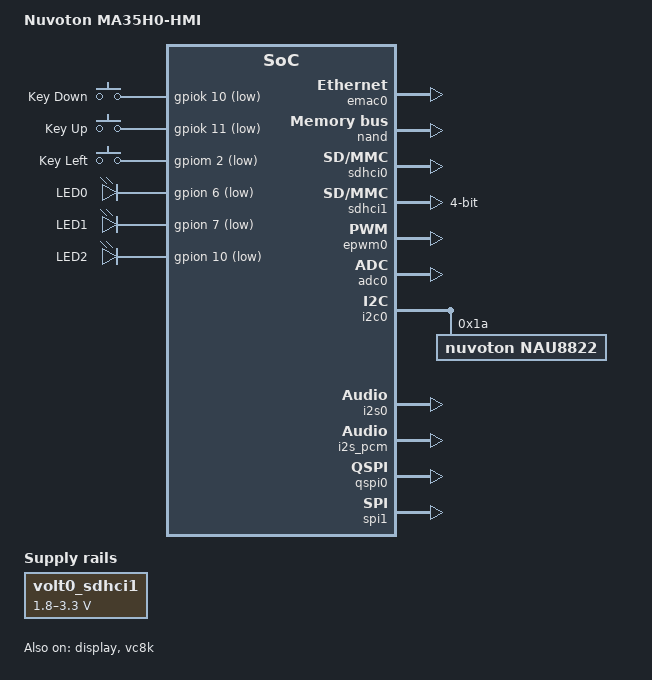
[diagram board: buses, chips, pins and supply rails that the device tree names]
/*
 * Device Tree Source for MA35H0 HMI Board
 *
 * Copyright (C) 2021 Nuvoton Technology Corp.
 *
 * The code contained herein is licensed under the GNU General Public
 * License. You may obtain a copy of the GNU General Public License
 * Version 2 or later at the following locations:
 *
 * http://www.opensource.org/licenses/gpl-license.html
 * http://www.gnu.org/copyleft/gpl.html
 */

/dts-v1/;

#include "ma35h0.dtsi"

/ {
	model = "Nuvoton MA35H0-HMI";

	aliases {
		i2c0 = &i2c0;
	};

	chosen {
		bootargs = "root=/dev/mmcblk1p1 rootfstype=ext4 rw rootwait console=ttyS0,115200n8 rdinit=/sbin/init mem=128M";
	};

	reserved-memory {
		display_buf: display_buf@0 {
			reg = <0x0 0x84FF0000 0x0 0x1010000>; /* 17MiB */
			no-map;
		};
		vc8k_buf: vc8k_buf@0 {
                       reg = <0x0 0x86000000 0x0 0x1800000>; /* 24MiB */
			no-map;
		};
	};

	gpio_keys_test {
		compatible = "gpio-keys";
		status = "okay";
		autorepeat;
		botton0 {
			label = "Key Down";
			linux,code = <KEY_DOWN>;
			gpios = <&gpiok 10 GPIO_ACTIVE_LOW>;
			wakeup-source;
		};
		button1{
			label ="Key Up";
			linux,code = <KEY_UP>;
			gpios = <&gpiok 11 GPIO_ACTIVE_LOW>;
			wakeup-source;
		};
		botton2 {
			label = "Key Left";
			linux,code = <KEY_LEFT>;
			gpios = <&gpiom 2 GPIO_ACTIVE_LOW>;
			wakeup-source;
		};
	};

	gpio_leds_test {
		compatible = "gpio-leds";
		status = "okay";
		led0 {
			label = "LED0";
			gpios = <&gpion 6 GPIO_ACTIVE_LOW>;
		};
		led1 {
			label = "LED1";
			gpios = <&gpion 7 GPIO_ACTIVE_LOW>;
		};
		led2 {
			label = "LED2";
			gpios = <&gpion 10 GPIO_ACTIVE_LOW>;
		};
	};

        volt0_sdhci1: regulator-volt0_sdhci1 {
		compatible = "regulator-gpio";
		regulator-name = "volt1_sdhci1";
		regulator-min-microvolt = <1800000>;
		regulator-max-microvolt = <3300000>;
		gpios = <&gpion 11 GPIO_ACTIVE_HIGH>; /* PN11 */
		gpios-states = <0>;
		states = <1800000 0x1 3300000 0x0>;
		enable-active-high;
		regulator-boot-on;
        };
};

&mem {
	device_type = "memory";
	reg = <0x00000000 0x80000000 0 0x08000000>; /* DRAM space - 1, size : 128MB DRAM */
};

&emac0 {
	status = "okay";
	pinctrl-names = "default";
	pinctrl-0 = <&pinctrl_emac0>;
};

&ehci0 {
	pinctrl-names = "default";
	pinctrl-0 = <&pinctrl_hsusbh>;
};

&usb {
	pinctrl-names = "default";
	pinctrl-0 = <&pinctrl_usb>;
};

&nand {
	status = "okay";
	pinctrl-names = "default";
	pinctrl-0 = <&pinctrl_nand>;
};

&sdhci0 {
	status = "okay";
	pinctrl-names = "default";
	pinctrl-0 = <&pinctrl_sdhci0>;
	disable-wp;
};

&sdhci1 {
	status = "okay";
	pinctrl-names = "sdhci_3V3","sdhci_1V8";
	pinctrl-0 = <&pinctrl_sdhci1_3_3V>;
	pinctrl-1 = <&pinctrl_sdhci1_1_8V>;
	bus-width = <4>;
	vqmmc-supply = <&volt0_sdhci1>;
	power-gpios = <&gpiok 9 GPIO_ACTIVE_LOW>; /* PK9 */
};

&epwm0 {
	status = "okay";
	pinctrl-names = "default";
	pinctrl-0 = <&pinctrl_epwm0>;
};

&adc0 {
	status = "okay";
	pinctrl-names = "default";
	pinctrl-0 = <&pinctrl_adc0>;
};

&i2c0 {
	status = "okay";
	pinctrl-names = "default";
	pinctrl-0 = <&pinctrl_i2c0>;

	#address-cells = <1>;
	#size-cells = <0>;
	nau8822: nau8822@1a {
		compatible = "nuvoton,nau8822";
		reg = <0x1a> ;
		nuvoton,spk-btl;
	};
};

&i2c5 {
	pinctrl-names = "default";
	pinctrl-0 = <&pinctrl_i2c5>;
	status = "disabled";

	goodix_ts@5d {
		compatible = "goodix,gt911";
		status = "disabled";
		reg = <0x5d>;
		interrupt-parent = <&gpiok>;
		interrupts = <12 2>;
		reset-gpios = <&gpiof 1 0x00>;
		irq-gpios = <&gpiok 12 0x00>;
		touchscreen-size-x = <1024>;
		touchscreen-size-y = <600>;
		touchscreen-inverted-x = <1>;
		touchscreen-inverted-y = <1>;
	};
};

&uart6 {
	status = "disabled";
	pinctrl-names = "default";
	pinctrl-0 = <&pinctrl_uart6>;
};

&uart16 {
	status = "disabled";
	pinctrl-names = "default";
	pinctrl-0 = <&pinctrl_uart16>;
};

&i2s0 {
	status = "okay";
	pinctrl-names = "default";
	pinctrl-0 = <&pinctrl_i2s0>;
	powerdown-gpios = <&gpiom 6 GPIO_ACTIVE_HIGH>; /* PM6 */
};

&i2s_pcm {
	status = "okay";
};

&sound {
	status = "okay";
};

&qspi0 {
	status = "okay";
	pinctrl-names = "default";
	pinctrl-0 = <&pinctrl_qspi0>;
};

&spi1 {
	status = "okay";
	pinctrl-names = "default";
	pinctrl-0 = <&pinctrl_spi1>;
};

&can0 {
	status = "disabled";
	pinctrl-names = "default";
	pinctrl-0 = <&pinctrl_can0>;
};

&display {
	pinctrl-names = "default";
	pinctrl-0 = <&pinctrl_display0>;
	memory-region = <&display_buf>;
	status = "okay";
};

&vc8k {
	memory-region = <&vc8k_buf>;
	debug_level = <1>;
	status = "okay";
};

&pinctrl {
	emac0 {
		pinctrl_emac0: emac0grp{
			nuvoton,pins =
				<SYS_GPE_MFPL_PE0MFP_RMII0_MDC		&pcfg_emac_3_3V>,
				<SYS_GPE_MFPL_PE1MFP_RMII0_MDIO		&pcfg_emac_3_3V>,
				<SYS_GPE_MFPL_PE2MFP_RMII0_TXEN		&pcfg_emac_3_3V>,
				<SYS_GPE_MFPL_PE3MFP_RMII0_TXD0		&pcfg_emac_3_3V>,
				<SYS_GPE_MFPL_PE4MFP_RMII0_TXD1		&pcfg_emac_3_3V>,
				<SYS_GPE_MFPL_PE5MFP_RMII0_REFCLK	&pcfg_emac_3_3V>,
				<SYS_GPE_MFPL_PE6MFP_RMII0_CRSDV	&pcfg_emac_3_3V>,
				<SYS_GPE_MFPL_PE7MFP_RMII0_RXD0		&pcfg_emac_3_3V>,
				<SYS_GPE_MFPH_PE8MFP_RMII0_RXD1		&pcfg_emac_3_3V>,
				<SYS_GPE_MFPH_PE9MFP_RMII0_RXERR	&pcfg_emac_3_3V>;
		};
	};

	hsusbh {
		pinctrl_hsusbh: hsusbhgrp{
			nuvoton,pins =
				<SYS_GPL_MFPH_PL12MFP_HSUSBH_PWREN	&pcfg_default>,
				<SYS_GPL_MFPH_PL13MFP_HSUSBH_OVC	&pcfg_default>;
		};
	};

	adc0 {
		pinctrl_adc0: adc0grp {
			nuvoton,pins =
				<SYS_GPB_MFPH_PB10MFP_ADC0_CH2	&pcfg_default>,
				<SYS_GPB_MFPH_PB11MFP_ADC0_CH3	&pcfg_default>,
				<SYS_GPB_MFPH_PB12MFP_ADC0_CH4	&pcfg_default>,
				<SYS_GPB_MFPH_PB13MFP_ADC0_CH5	&pcfg_default>,
				<SYS_GPB_MFPH_PB14MFP_ADC0_CH6	&pcfg_default>,
				<SYS_GPB_MFPH_PB15MFP_ADC0_CH7	&pcfg_default>;
		};
	};

	epwm0 {
		pinctrl_epwm0: epwm0grp{
			nuvoton,pins =
				<SYS_GPD_MFPL_PD7MFP_EPWM0_CH1	&pcfg_default>;
		};
	};

	i2c0 {
		pinctrl_i2c0: i2c0grp{
			nuvoton,pins =
				<SYS_GPM_MFPH_PM8MFP_I2C0_SDA	&pcfg_default>,
				<SYS_GPM_MFPH_PM9MFP_I2C0_SCL	&pcfg_default>;
		};
	};

	i2c5 {
		pinctrl_i2c5: i2c5grp{
			nuvoton,pins =
				<SYS_GPM_MFPL_PM4MFP_I2C5_SDA		&pcfg_default>,
				<SYS_GPM_MFPL_PM5MFP_I2C5_SCL		&pcfg_default>;
		};
	};

	can0 {
		pinctrl_can0: can0grp{
			nuvoton,pins =
				<SYS_GPN_MFPL_PN2MFP_CAN0_RXD	&pcfg_default>,
				<SYS_GPN_MFPL_PN3MFP_CAN0_TXD	&pcfg_default>;
		};
	};

	uart6 {
		pinctrl_uart6: uart6grp{
			nuvoton,pins =
				<SYS_GPN_MFPH_PN12MFP_UART6_nCTS	&pcfg_default>,
				<SYS_GPN_MFPH_PN13MFP_UART6_nRTS	&pcfg_default>,
				<SYS_GPN_MFPH_PN14MFP_UART6_RXD	&pcfg_default>,
				<SYS_GPN_MFPH_PN15MFP_UART6_TXD	&pcfg_default>;
		};
	};

	uart16 {
		pinctrl_uart16: uart16grp{
			nuvoton,pins =
				<SYS_GPD_MFPH_PD8MFP_UART16_nCTS	&pcfg_default>,
				<SYS_GPD_MFPH_PD9MFP_UART16_nRTS	&pcfg_default>,
				<SYS_GPD_MFPH_PD10MFP_UART16_RXD	&pcfg_default>,
				<SYS_GPD_MFPH_PD11MFP_UART16_TXD	&pcfg_default>;
		};
	};

	i2s0 {
		pinctrl_i2s0: i2s0grp{
			nuvoton,pins =
				<SYS_GPG_MFPH_PG11MFP_I2S0_MCLK	&pcfg_default>,
				<SYS_GPG_MFPH_PG12MFP_I2S0_LRCK	&pcfg_default>,
				<SYS_GPG_MFPH_PG13MFP_I2S0_BCLK	&pcfg_default>,
				<SYS_GPG_MFPH_PG14MFP_I2S0_DI	&pcfg_default>,
				<SYS_GPG_MFPH_PG15MFP_I2S0_DO	&pcfg_default>;
		};
	};

	qspi0 {
		pinctrl_qspi0: qspi0grp{
			nuvoton,pins =
				<SYS_GPD_MFPL_PD0MFP_QSPI0_SS0		&pcfg_default>,
				<SYS_GPD_MFPL_PD1MFP_QSPI0_CLK		&pcfg_default>,
				<SYS_GPD_MFPL_PD2MFP_QSPI0_MOSI0	&pcfg_default>,
				<SYS_GPD_MFPL_PD3MFP_QSPI0_MISO0	&pcfg_default>,
				<SYS_GPD_MFPL_PD4MFP_QSPI0_MOSI1	&pcfg_default>,
				<SYS_GPD_MFPL_PD5MFP_QSPI0_MISO1	&pcfg_default>;
		};
	};

	spi1 {
		pinctrl_spi1: spi1grp{
			nuvoton,pins =
				<SYS_GPC_MFPH_PC8MFP_SPI1_SS0	&pcfg_default>,
				<SYS_GPC_MFPH_PC9MFP_SPI1_CLK	&pcfg_default>,
				<SYS_GPC_MFPH_PC10MFP_SPI1_MOSI	&pcfg_default>,
				<SYS_GPC_MFPH_PC11MFP_SPI1_MISO	&pcfg_default>;
		};
	};

	usb {
		pinctrl_usb: usbgrp{
			nuvoton,pins =
				<SYS_GPF_MFPH_PF15MFP_HSUSB0_VBUSVLD	&pcfg_default>;
		};
	};

	nand {
		pinctrl_nand: nandgrp{
			nuvoton,pins =
				<SYS_GPA_MFPL_PA0MFP_NAND_DATA0	&pcfg_default>,
				<SYS_GPA_MFPL_PA1MFP_NAND_DATA1	&pcfg_default>,
				<SYS_GPA_MFPL_PA2MFP_NAND_DATA2	&pcfg_default>,
				<SYS_GPA_MFPL_PA3MFP_NAND_DATA3	&pcfg_default>,
				<SYS_GPA_MFPL_PA4MFP_NAND_DATA4	&pcfg_default>,
				<SYS_GPA_MFPL_PA5MFP_NAND_DATA5	&pcfg_default>,
				<SYS_GPA_MFPL_PA6MFP_NAND_DATA6	&pcfg_default>,
				<SYS_GPA_MFPL_PA7MFP_NAND_DATA7	&pcfg_default>,
				<SYS_GPA_MFPH_PA8MFP_NAND_RDY	&pcfg_default>,
				<SYS_GPA_MFPH_PA9MFP_NAND_nRE	&pcfg_default>,
				<SYS_GPA_MFPH_PA10MFP_NAND_nWE	&pcfg_default>,
				<SYS_GPA_MFPH_PA11MFP_NAND_CLE	&pcfg_default>,
				<SYS_GPA_MFPH_PA12MFP_NAND_ALE	&pcfg_default>,
				<SYS_GPA_MFPH_PA13MFP_NAND_nCS	&pcfg_default>,
				<SYS_GPA_MFPH_PA14MFP_NAND_nWP	&pcfg_default>;
		};
	};
	
	sdhci0 {
		pinctrl_sdhci0: sdhci0grp{
			nuvoton,pins =
				<SYS_GPC_MFPL_PC0MFP_eMMC0_CMD	&pcfg_sdhci_drive2_3_3V>,
				<SYS_GPC_MFPL_PC1MFP_eMMC0_CLK	&pcfg_sdhci_drive2_3_3V>,
				<SYS_GPC_MFPL_PC2MFP_eMMC0_DAT0	&pcfg_sdhci_drive2_3_3V>,
				<SYS_GPC_MFPL_PC3MFP_eMMC0_DAT1	&pcfg_sdhci_drive2_3_3V>,
				<SYS_GPC_MFPL_PC4MFP_eMMC0_DAT2	&pcfg_sdhci_drive2_3_3V>,
				<SYS_GPC_MFPL_PC5MFP_eMMC0_DAT3	&pcfg_sdhci_drive2_3_3V>,
				<SYS_GPC_MFPL_PC6MFP_SD0_nCD	&pcfg_default>,
				<SYS_GPC_MFPL_PC7MFP_SD0_WP	&pcfg_default>;
		};
	};

	sdhci1 {
		pinctrl_sdhci1_3_3V: sdhci1_3_3Vgrp{
			nuvoton,pins =
				<SYS_GPJ_MFPL_PJ5MFP_SD1_nCD	&pcfg_default>,
				<SYS_GPJ_MFPL_PJ6MFP_SD1_CMD	&pcfg_sdhci_drive2_3_3V>,
				<SYS_GPJ_MFPL_PJ7MFP_SD1_CLK	&pcfg_sdhci_drive2_3_3V>,
				<SYS_GPJ_MFPH_PJ8MFP_SD1_DAT0	&pcfg_sdhci_drive2_3_3V>,
				<SYS_GPJ_MFPH_PJ9MFP_SD1_DAT1	&pcfg_sdhci_drive2_3_3V>,
				<SYS_GPJ_MFPH_PJ10MFP_SD1_DAT2	&pcfg_sdhci_drive2_3_3V>,
				<SYS_GPJ_MFPH_PJ11MFP_SD1_DAT3	&pcfg_sdhci_drive2_3_3V>;
		};

		pinctrl_sdhci1_1_8V: sdhci1_1_8Vgrp{
			nuvoton,pins =
				<SYS_GPJ_MFPL_PJ5MFP_SD1_nCD	&pcfg_default>,
				<SYS_GPJ_MFPL_PJ6MFP_SD1_CMD	&pcfg_sdhci_drive4_1_8V>,
				<SYS_GPJ_MFPL_PJ7MFP_SD1_CLK	&pcfg_sdhci_drive7_1_8V>,
				<SYS_GPJ_MFPH_PJ8MFP_SD1_DAT0	&pcfg_sdhci_drive1_1_8V>,
				<SYS_GPJ_MFPH_PJ9MFP_SD1_DAT1	&pcfg_sdhci_drive1_1_8V>,
				<SYS_GPJ_MFPH_PJ10MFP_SD1_DAT2	&pcfg_sdhci_drive1_1_8V>,
				<SYS_GPJ_MFPH_PJ11MFP_SD1_DAT3	&pcfg_sdhci_drive1_1_8V>;
		};
	};

	display {
		pinctrl_display0: display0grp{
			nuvoton,pins =
				<SYS_GPG_MFPH_PG8MFP_LCM_VSYNC		&pcfg_default>,
				<SYS_GPG_MFPH_PG9MFP_LCM_HSYNC		&pcfg_default>,
				<SYS_GPG_MFPH_PG10MFP_LCM_CLK		&pcfg_default>,
				<SYS_GPK_MFPL_PK4MFP_LCM_DEN		&pcfg_default>,
				<SYS_GPI_MFPH_PI8MFP_LCM_DATA0		&pcfg_default>,
				<SYS_GPI_MFPH_PI9MFP_LCM_DATA1		&pcfg_default>,
				<SYS_GPI_MFPH_PI10MFP_LCM_DATA2		&pcfg_default>,
				<SYS_GPI_MFPH_PI11MFP_LCM_DATA3		&pcfg_default>,
				<SYS_GPI_MFPH_PI12MFP_LCM_DATA4		&pcfg_default>,
				<SYS_GPI_MFPH_PI13MFP_LCM_DATA5		&pcfg_default>,
				<SYS_GPI_MFPH_PI14MFP_LCM_DATA6		&pcfg_default>,
				<SYS_GPI_MFPH_PI15MFP_LCM_DATA7		&pcfg_default>,
				<SYS_GPH_MFPL_PH0MFP_LCM_DATA8		&pcfg_default>,
				<SYS_GPH_MFPL_PH1MFP_LCM_DATA9		&pcfg_default>,
				<SYS_GPH_MFPL_PH2MFP_LCM_DATA10		&pcfg_default>,
				<SYS_GPH_MFPL_PH3MFP_LCM_DATA11		&pcfg_default>,
				<SYS_GPH_MFPL_PH4MFP_LCM_DATA12		&pcfg_default>,
				<SYS_GPH_MFPL_PH5MFP_LCM_DATA13		&pcfg_default>,
				<SYS_GPH_MFPL_PH6MFP_LCM_DATA14		&pcfg_default>,
				<SYS_GPH_MFPL_PH7MFP_LCM_DATA15		&pcfg_default>,
				<SYS_GPC_MFPH_PC12MFP_LCM_DATA16	&pcfg_default>,
				<SYS_GPC_MFPH_PC13MFP_LCM_DATA17	&pcfg_default>,
				<SYS_GPC_MFPH_PC14MFP_LCM_DATA18	&pcfg_default>,
				<SYS_GPC_MFPH_PC15MFP_LCM_DATA19	&pcfg_default>,
				<SYS_GPH_MFPH_PH12MFP_LCM_DATA20	&pcfg_default>,
				<SYS_GPH_MFPH_PH13MFP_LCM_DATA21	&pcfg_default>,
				<SYS_GPH_MFPH_PH14MFP_LCM_DATA22	&pcfg_default>,
				<SYS_GPH_MFPH_PH15MFP_LCM_DATA23	&pcfg_default>;
		};
	};
};
